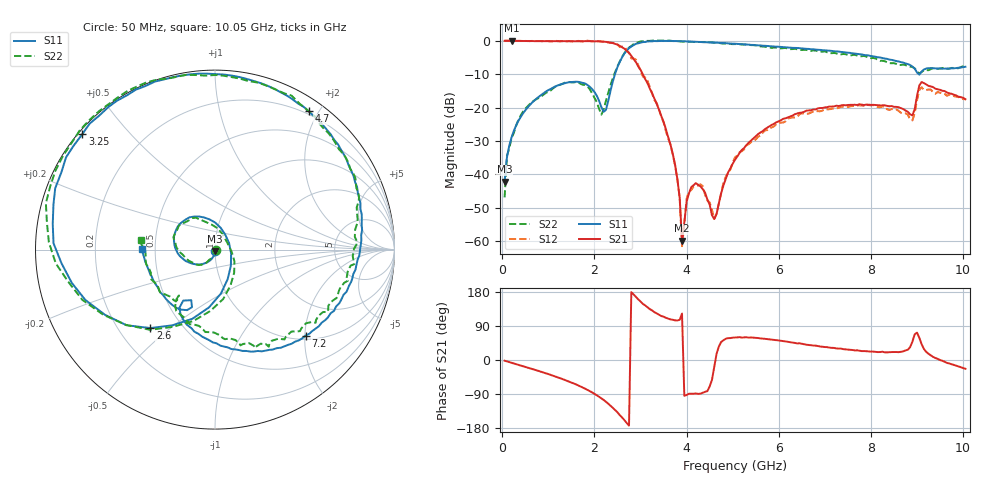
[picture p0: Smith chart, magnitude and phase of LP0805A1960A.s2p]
! AVX THIN FILM OPERATION
! 0805 Size Low Pass Filter P/N  LP0805A1960AWTR
! Network Analyzer HP8720ES.07.64: Feb 23, 2000 Serial No. US39172382
! Hewlett-Packard
!  2 Feb 2003  04:20:02
! Frequency  S11  S21  S12  S22
# HZ  S  DB R  50
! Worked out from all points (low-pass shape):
!   201 points, 50 MHz to 10.05 GHz, reference 50 ohm
!   highest |S21| = -0.01 dB at 200 MHz (marker M1); lowest = -59.8 dB at 3.9 GHz (marker M2)
!   |S21| within 3 dB of the highest: start of sweep to 2.695 GHz
!   lowest |S11| = -42.2 dB at 50 MHz (marker M3), VSWR 1.02, Z = 50.1 - j0.773 ohm
!   |S11| at or under -10 dB: start of sweep to 2.446 GHz; 9.039165 GHz to 9.057637 GHz (18.47 MHz wide, 0.204 % of centre)
!   |S22| runs from -46.9 to 0.1 dB; largest |S21 - S12| = 0.066
!   S11 on the Smith chart (normalised r, x): 50 MHz: 1.00, -0.02; 2.6 GHz: 0.33, -0.43; 3.25 GHz: 0.01, +0.37; 4.7 GHz: 0.16, +1.87; 7.2 GHz: 1.09, -2.02; 10.05 GHz: 0.42, +0.00
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5e7  -42.16 -81.6  -0.02 -1.9  -0.02 -1.9  -46.87 -7.0
1e8  -34.95 -92.6  -0.03 -3.6  -0.01 -3.7  -34.45 -92.5
2e8  -28.94 -101.3  -0.01 -7.3  -0.04 -7.4  -29.15 -102.9
6.5e8  -18.44 -136.2  -0.09 -23.7  -0.05 -23.7  -18.30 -135.3
1.75e9  -12.62 134.2  -0.15 -72.8  -0.25 -73.0  -13.20 132.6
2.15e9  -19.84 56.2  -0.24 -101.1  -0.22 -101.6  -22.10 30.9
2.6e9  -4.94 -129.4  -1.91 -151.7  -1.75 -149.7  -4.80 -129.0
2.9e9  -0.91 177.8  -6.41 166.5  -5.66 165.1  -0.66 177.4
3.25e9  -0.17 138.9  -15.67 131.0  -15.68 124.6  0.04 138.7
3.4e9  -0.07 126.8  -20.60 119.5  -20.41 115.2  0.04 126.0
3.75e9  -0.10 103.8  -37.12 104.6  -37.42 105.1  -0.12 102.5
3.85e9  -0.12 98.0  -47.07 106.0  -47.10 105.8  -0.19 96.1
3.9e9  -0.14 95.2  -59.78 122.6  -61.44 136.7  -0.26 93.2
4.05e9  -0.21 87.0  -45.67 -89.1  -44.97 -98.2  -0.30 84.6
4.7e9  -0.62 55.9  -48.61 35.8  -48.67 34.0  -0.66 53.0
5.05e9  -0.89 40.6  -35.59 59.2  -34.87 56.2  -1.00 36.6
6.75e9  -2.55 -27.2  -20.57 38.2  -21.20 38.4  -2.88 -28.5
7.2e9  -3.15 -43.5  -19.64 31.8  -20.24 30.9  -3.66 -43.8
8.4e9  -5.64 -89.1  -19.59 20.6  -20.74 17.2  -6.71 -90.8
8.9e9  -7.72 -117.6  -22.36 48.4  -23.82 43.3  -7.86 -122.2
9.1e9  -9.24 -111.8  -12.35 41.8  -13.91 35.1  -9.35 -126.9
1.005e10  -7.79 179.8  -17.50 -23.2  -17.45 -20.3  -7.58 172.3
